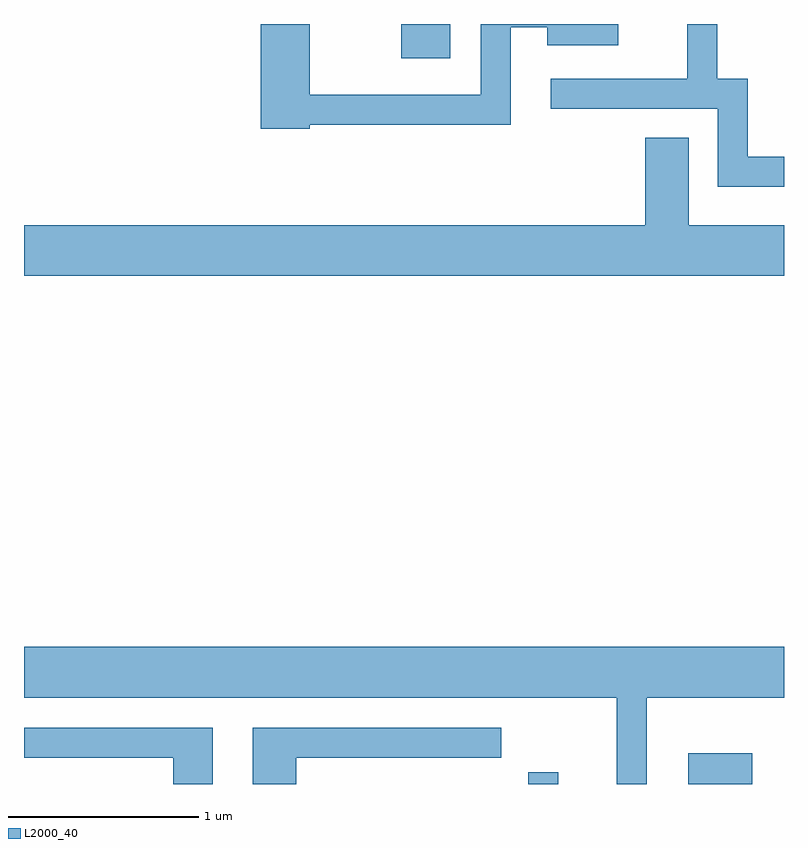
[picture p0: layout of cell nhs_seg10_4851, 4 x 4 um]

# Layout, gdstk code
import gdstk
lib = gdstk.Library(unit=1e-6, precision=1e-09)
def R(c, l, rs):  # rectangles x0, y0, x1, y1
    for r in rs: c.add(gdstk.rectangle(r[:2], r[2:], *l))
def P(c, l, *ps):  # polygons
    for p in ps: c.add(gdstk.Polygon(p, *l))
L2000_40 = (2000, 40)

nhs_seg10_4851 = lib.new_cell('nhs_seg10_4851')
R(nhs_seg10_4851, L2000_40, [(330.266,2164.522,330.424,2164.583), (331.106,2164.522,331.444,2164.684), (329.596,2168.341,329.854,2168.522)])
P(nhs_seg10_4851, L2000_40, [(331.611,2167.824),(331.419,2167.824),(331.419,2168.234),(331.259,2168.234),(331.259,2168.522),(331.101,2168.522),(331.101,2168.234),(330.383,2168.234),(330.383,2168.076),(331.261,2168.076),(331.261,2167.666),(331.611,2167.666)],
  [(329.114,2167.991),(330.174,2167.991),(330.174,2168.506),(330.366,2168.506),(330.366,2168.411),(330.739,2168.411),(330.739,2168.522),(330.016,2168.522),(330.016,2168.149),(329.114,2168.149),(329.114,2168.522),(328.856,2168.522),(328.856,2167.971),(329.114,2167.971)],
  [(331.611,2167.464),(331.109,2167.464),(331.109,2167.924),(330.881,2167.924),(330.881,2167.464),(327.611,2167.464),(327.611,2167.196),(331.611,2167.196)],
  [(330.889,2164.976),(331.611,2164.976),(331.611,2165.244),(327.611,2165.244),(327.611,2164.976),(330.731,2164.976),(330.731,2164.522),(330.889,2164.522)],
  [(328.604,2164.819),(327.611,2164.819),(327.611,2164.661),(328.396,2164.661),(328.396,2164.522),(328.604,2164.522)],
  [(329.044,2164.661),(330.123,2164.661),(330.123,2164.819),(328.816,2164.819),(328.816,2164.522),(329.044,2164.522)])

lib.write_gds('nhs_seg10_4851.gds')
